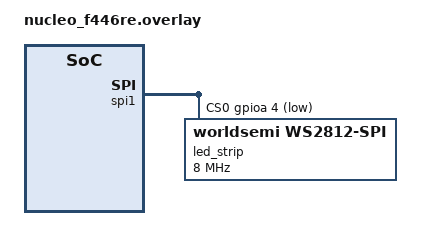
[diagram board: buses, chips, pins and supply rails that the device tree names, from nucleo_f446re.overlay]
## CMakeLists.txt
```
cmake_minimum_required(VERSION 3.20.0)
find_package(Zephyr REQUIRED HINTS $ENV{ZEPHYR_BASE})
project(app)
target_sources(app PRIVATE src/main.cpp)
```

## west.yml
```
  
  manifest:
    projects:
      - name: zephyr
        url: https://github.com/zephyrproject-rtos/zephyr
        revision: v4.4.0
        clone-depth: 1
        import:
          name-blocklist:
            - "*"
          name-allowlist:
            - hal_stm32
            - cmsis_6            
```

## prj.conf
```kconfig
CONFIG_CPP=y
CONFIG_STD_CPP20=y
CONFIG_SPI=y
CONFIG_LED_STRIP=y
CONFIG_LOG=y
CONFIG_UART_CONSOLE=y
```

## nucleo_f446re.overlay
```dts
#include <zephyr/dt-bindings/led/led.h>
#include <zephyr/dt-bindings/gpio/gpio.h>

&spi1 {
	status = "okay";
	cs-gpios = <&gpioa 4 GPIO_ACTIVE_LOW>;

	led_strip: ws2812@0 {
		compatible = "worldsemi,ws2812-spi";
		reg = <0>;
		spi-max-frequency = <8000000>;

		chain-length = <256>;
		color-mapping = <LED_COLOR_ID_GREEN
				 LED_COLOR_ID_RED
				 LED_COLOR_ID_BLUE>;
		spi-one-frame = <0xFE>;
		spi-zero-frame = <0xE0>;
		bits-per-symbol = <8>;
		reset-delay = <500>;
	};
};

/ {
	aliases {
		led-strip = &led_strip;
	};
};
```

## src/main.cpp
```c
#include<zephyr/kernel.h>
#include<zephyr/drivers/led_strip.h>
#include<zephyr/dt-bindings/led/led.h>
#include<zephyr/device.h>
#include<zephyr/logging/log.h>
#include<cstdint>

constexpr uint16_t MAX {256};

LOG_MODULE_REGISTER(main, LOG_LEVEL_DBG);

void led_animation(const struct device* dev){
   uint8_t i;
   static struct led_rgb pixels[MAX];
   for (i=0; i < MAX-1; i++){
      pixels[0].b = i; 
      auto update = led_strip_update_rgb(dev, pixels, MAX);
      if (update != 0){
         LOG_ERR("LED strip was not updated");
         return;  
      } else
      LOG_INF("update was fine"); 
   } 
}


void led_strip_init(){
   const struct device* dev = DEVICE_DT_GET(DT_ALIAS(led_strip));
   if (!device_is_ready(dev)) {
      LOG_ERR("LED strip device not ready");
      return;
   }
   LOG_INF("LED strip ready");
   led_animation(dev);    
}



int main(){
  led_strip_init();   
  return 0;
}
```
